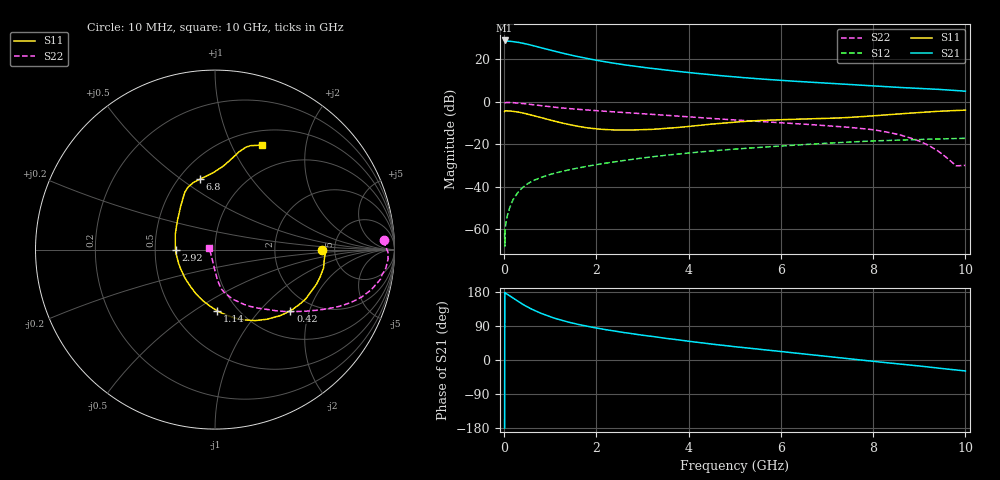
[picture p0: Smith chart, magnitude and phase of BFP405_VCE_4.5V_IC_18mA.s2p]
! Infineon Technologies  Discrete & RF Semiconductors
! BFP405
! VCE =  4.5 V,  IC =  18 mA
! Common Emitter S-Parameters:  Jan 2016
# GHz  S  MA  R  50
!  f  S11  S21  S12  S22
! GHz  MAG  ANG  MAG  ANG  MAG  ANG  MAG  ANG
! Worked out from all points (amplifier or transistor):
!   233 points, 10 MHz to 10 GHz, reference 50 ohm
!   highest |S21| = 28.9 dB at 10 MHz (marker M1)
!   |S21| within 3 dB of that: start of sweep to 726 MHz
!   unconditionally stable (mu >= 1): start of sweep to 36.46 MHz; 2.062 GHz to end of sweep
!   at 200 MHz: K = 0.34, MSG = 37.1 dB, |S12| = -45.8 dB
!   at 1.74 GHz: K = 0.92, MSG = 25.6 dB, |S12| = -30.6 dB
!   at 10 GHz: K = 1.33, MAG = 7.6 dB, |S12| = -17.2 dB
!   S11 on the Smith chart (normalised r, x): 10 MHz: 3.92, -0.01; 420 MHz: 1.57, -1.50; 1.14 GHz: 0.81, -0.62; 2.92 GHz: 0.64, -0.00; 6.8 GHz: 0.63, +0.59; 10 GHz: 0.67, +1.31
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0.01  0.5936 -0.1  27.79 -179.4  0.0008 -61.6  0.9424 3.1
0.015  0.6046 -0.6  27.57 178.5  0.0004 11.2  0.9465 2.0
0.02  0.6156 -1.0  27.4 176.4  0.001 61.1  0.951 0.9
0.05  0.6111 -4.7  26.87 174.9  0.0017 63.3  0.9637 -0.7
0.1  0.6136 -9.4  26.77 170.6  0.0027 73.4  0.966 -3.0
0.19  0.5982 -18.1  26.14 163.5  0.0049 75.4  0.9558 -6.5
0.3  0.5749 -28.6  25.19 154.8  0.0074 73.9  0.937 -10.1
0.42  0.5401 -39.0  23.74 145.8  0.01 71.7  0.9057 -13.6
0.58  0.4905 -51.5  21.58 135.3  0.013 69.1  0.8638 -17.4
0.7  0.455 -60.4  20.02 128.4  0.0151 67.4  0.8328 -19.8
0.9  0.3982 -73.7  17.58 118.3  0.0181 65.4  0.7851 -23.0
1.14  0.34 -88.2  15.09 108.6  0.0215 63.9  0.737 -26.0
1.4  0.2927 -103.2  12.92 99.8  0.0249 63.0  0.6933 -28.7
1.68  0.2561 -118.5  11.1 92.0  0.0287 62.2  0.6549 -31.1
2.2  0.2222 -146.2  8.707 80.1  0.0359 60.5  0.5978 -35.1
2.92  0.2194 -179.2  6.67 66.9  0.0464 57.1  0.5323 -40.5
3.4  0.2321 162.5  5.761 59.0  0.0536 54.1  0.4906 -44.2
4  0.2631 142.9  4.879 49.3  0.0625 50.1  0.4416 -49.0
5.1  0.3386 121.8  3.774 33.9  0.0784 41.8  0.3682 -58.7
6.8  0.4006 102.4  2.819 12.0  0.103 28.9  0.2832 -71.5
8.4  0.5034 80.6  2.228 -8.4  0.124 14.4  0.1846 -83.9
10  0.6371 66.0  1.777 -29.0  0.1383 1.1  0.0319 168.8
